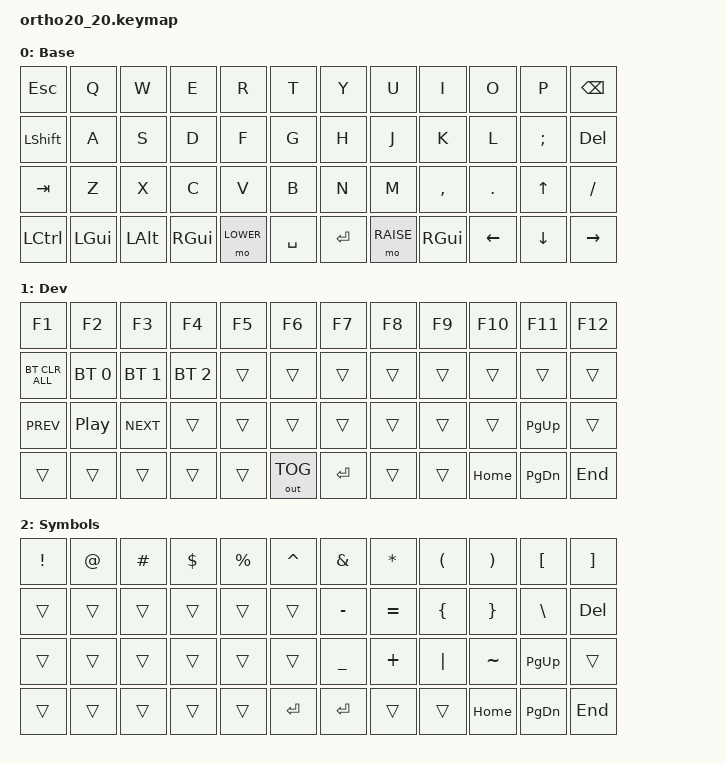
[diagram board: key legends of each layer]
#include <behaviors.dtsi>
#include <dt-bindings/zmk/keys.h>
#include <dt-bindings/zmk/bt.h>
#include <dt-bindings/zmk/outputs.h>

#define BASE 0
#define LOWER 1
#define RAISE 2

/ {
    combos {
        compatible = "zmk,combos";

        combo_studio_unlock {
            timeout-ms = <50>;
            key-positions = <40 43>;
            bindings = <&studio_unlock>;
        };
    };

    keymap {
        compatible = "zmk,keymap";

        base_layer {
            display-name = "Base";

            bindings = <
                &kp ESC &kp Q &kp W &kp E &kp R &kp T &kp Y &kp U &kp I &kp O &kp P &kp BSPC
                &kp LSHFT &kp A &kp S &kp D &kp F &kp G &kp H &kp J &kp K &kp L &kp SEMI &kp DEL
                &kp TAB &kp Z &kp X &kp C &kp V &kp B &kp N &kp M &kp COMMA &kp DOT &kp UP &kp FSLH
                &kp LCTRL &kp LGUI &kp LALT &kp RGUI &mo LOWER &kp SPACE &kp RET &mo RAISE &kp RGUI &kp LEFT &kp DOWN &kp RIGHT
            >;
        };

        lower_layer {
            display-name = "Dev";

            bindings = <
                &kp F1 &kp F2 &kp F3 &kp F4 &kp F5 &kp F6 &kp F7 &kp F8 &kp F9 &kp F10 &kp F11 &kp F12
                &bt BT_CLR_ALL &bt BT_SEL 0 &bt BT_SEL 1 &bt BT_SEL 2 &trans &trans &trans &trans &trans &trans &trans &trans
                &kp C_PREV &kp C_PP &kp C_NEXT &trans &trans &trans &trans &trans &trans &trans &kp PG_UP &trans
                &trans &trans &trans &trans &trans &out OUT_TOG &kp RET &trans &trans &kp HOME &kp PG_DN &kp END
            >;
        };

        raise_layer {
            display-name = "Symbols";

            bindings = <
                &kp EXCL &kp AT &kp HASH &kp DLLR &kp PRCNT &kp CARET &kp AMPS &kp STAR &kp LPAR &kp RPAR &kp LBKT &kp RBKT
                &trans &trans &trans &trans &trans &trans &kp MINUS &kp EQUAL &kp LBRC &kp RBRC &kp BSLH &kp DEL
                &trans &trans &trans &trans &trans &trans &kp UNDER &kp PLUS &kp PIPE &kp TILDE &kp PG_UP &trans
                &trans &trans &trans &trans &trans &kp RET &kp RET &trans &trans &kp HOME &kp PG_DN &kp END
            >;
        };
    };
};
